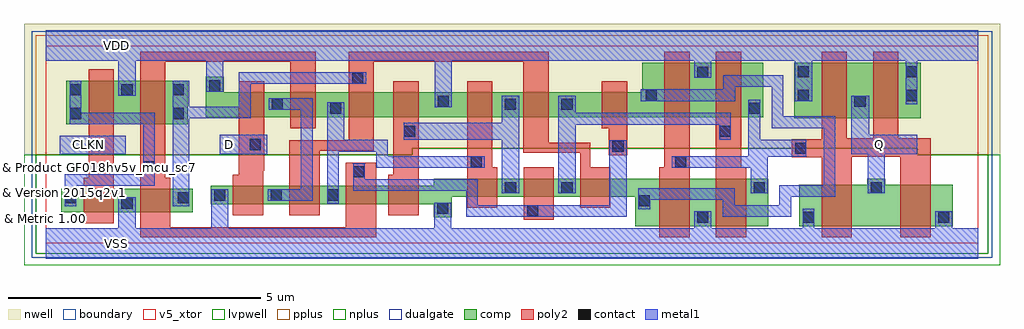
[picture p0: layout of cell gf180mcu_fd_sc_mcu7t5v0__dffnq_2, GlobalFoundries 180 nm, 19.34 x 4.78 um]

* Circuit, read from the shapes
.subckt gf180mcu_fd_sc_mcu7t5v0__dffnq_2 CLKN D Q VDD VSS
XM1 VSS CLKN n1 VSUBS nfet_05v0 w=0.465u l=0.6u
XM2 n2 n1 VSS VSUBS nfet_05v0 w=0.465u l=0.6u
XM3 n3 D VSS VSUBS nfet_05v0 w=0.36u l=0.6u
XM4 n4 n2 n3 VSUBS nfet_05v0 w=0.36u l=0.6u
XM5 n5 n1 n4 VSUBS nfet_05v0 w=0.36u l=0.6u
XM6 VSS n6 n5 VSUBS nfet_05v0 w=0.36u l=0.6u
XM7 n6 n4 VSS VSUBS nfet_05v0 w=0.36u l=0.6u
XM8 n7 n1 n6 VSUBS nfet_05v0 w=0.36u l=0.6u
XM9 n8 n2 n7 VSUBS nfet_05v0 w=0.36u l=0.6u
XM10 VSS n9 n8 VSUBS nfet_05v0 w=0.945u l=0.6u
XM11 n9 n7 VSS VSUBS nfet_05v0 w=0.945u l=0.6u
XM12 Q n9 VSS VSUBS nfet_05v0 w=0.82u l=0.6u m=2
XM13 VDD CLKN n1 n10 pfet_05v0 w=0.865u l=0.5u
XM14 n2 n1 VDD n10 pfet_05v0 w=0.865u l=0.5u
XM15 n3 D VDD n10 pfet_05v0 w=0.495u l=0.5u
XM16 n4 n1 n3 n10 pfet_05v0 w=0.495u l=0.5u
XM17 n11 n2 n4 n10 pfet_05v0 w=0.495u l=0.5u
XM18 VDD n6 n11 n10 pfet_05v0 w=0.495u l=0.5u
XM19 n6 n4 VDD n10 pfet_05v0 w=0.495u l=0.5u
XM20 n7 n2 n6 n10 pfet_05v0 w=0.495u l=0.5u
XM21 n8 n1 n7 n10 pfet_05v0 w=0.495u l=0.5u
XM22 VDD n9 n8 n10 pfet_05v0 w=1.075u l=0.5u
XM23 n9 n7 VDD n10 pfet_05v0 w=1.075u l=0.5u
XM24 Q n9 VDD n10 pfet_05v0 w=1.095u l=0.5u m=2
.ends

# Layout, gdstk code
import gdstk
lib = gdstk.Library(unit=1e-6, precision=1e-09)
def R(c, l, rs):  # rectangles x0, y0, x1, y1
    for r in rs: c.add(gdstk.rectangle(r[:2], r[2:], *l))
def A(c, l, x, y, w, h, nx, ny, dx, dy):  # array of equal rectangles
    R(c, l, [(x+i*dx, y+j*dy, x+i*dx+w, y+j*dy+h) for i in range(nx) for j in range(ny)])
def P(c, l, *ps):  # polygons
    for p in ps: c.add(gdstk.Polygon(p, *l))
boundary = (0, 0)
nwell = (21, 0)
comp = (22, 0)
poly2 = (30, 0)
pplus = (31, 0)
nplus = (32, 0)
contact = (33, 0)
metal1 = (34, 0)
dualgate = (55, 0)
v5_xtor = (112, 1)
lvpwell = (204, 0)

gf180mcu_fd_sc_mcu7t5v0_ = lib.new_cell('gf180mcu_fd_sc_mcu7t5v0__dffnq_2')
R(gf180mcu_fd_sc_mcu7t5v0_, boundary, [(0,0,18.48,3.92)])
P(gf180mcu_fd_sc_mcu7t5v0_, nwell, [(-0.43,1.76),(-0.43,4.35),(18.91,4.35),(18.91,1.76),(17.275,1.76),(17.275,1.885),(7.265,1.885),(7.265,1.76)])
R(gf180mcu_fd_sc_mcu7t5v0_, comp, [(0.31,0.62,2.91,1.085), (0.41,2.36,2.81,3.225), (14.835,2.485,17.335,3.58)])
P(gf180mcu_fd_sc_mcu7t5v0_, comp, [(3.17,2.5),(3.17,3.3),(3.53,3.3),(3.53,2.995),(11.82,2.995),(11.82,3.575),(14.22,3.575),(14.22,2.5)],
  [(11.68,0.34),(11.68,0.925),(8.05,0.925),(8.05,0.515),(7.69,0.515),(7.69,0.78),(3.27,0.78),(3.27,1.14),(7.69,1.14),(7.69,1.285),(14.32,1.285),(14.32,0.34)],
  [(14.935,0.34),(14.935,1.16),(16.275,1.16),(16.275,1.285),(16.635,1.285),(16.635,1.16),(17.975,1.16),(17.975,0.34)])
R(gf180mcu_fd_sc_mcu7t5v0_, poly2, [(9.47,0.465,10.07,1.505)])
P(gf180mcu_fd_sc_mcu7t5v0_, poly2, [(0.75,0.4),(0.75,1.305),(0.85,1.305),(0.85,3.45),(1.35,3.45),(1.35,0.4)],
  [(3.71,0.56),(3.71,1.36),(3.83,1.36),(3.83,3.215),(4.33,3.215),(4.33,1.44),(4.31,1.44),(4.31,0.56)],
  [(1.87,0.12),(1.87,3.8),(5.35,3.8),(5.35,2.28),(4.85,2.28),(4.85,3.6),(2.37,3.6),(2.37,1.305),(2.47,1.305),(2.47,0.32),(5.95,0.32),(5.95,1.6),(6.55,1.6),(6.55,0.12)],
  [(6.79,0.56),(6.79,1.36),(6.89,1.36),(6.89,3.215),(7.39,3.215),(7.39,0.56)],
  [(8.35,0.705),(8.35,3.215),(8.85,3.215),(8.85,1.505),(8.95,1.505),(8.95,0.705)],
  [(4.83,0.56),(4.83,2.04),(6.005,2.04),(6.005,3.8),(9.965,3.8),(9.965,1.995),(10.79,1.995),(10.79,1.505),(11.19,1.505),(11.19,0.705),(10.59,0.705),(10.59,1.795),(9.465,1.795),(9.465,3.6),(6.505,3.6),(6.505,1.84),(5.43,1.84),(5.43,0.56)],
  [(11.16,1.745),(11.16,2.28),(11.02,2.28),(11.02,3.215),(11.52,3.215),(11.52,1.745)],
  [(12.16,0.12),(12.16,1.505),(12.26,1.505),(12.26,3.8),(12.76,3.8),(12.76,0.12)],
  [(13.28,0.12),(13.28,3.8),(13.78,3.8),(13.78,1.505),(13.88,1.505),(13.88,0.12)],
  [(15.375,0.12),(15.375,1.705),(14.78,1.705),(14.78,2.065),(15.375,2.065),(15.375,3.8),(15.875,3.8),(15.875,2.08),(16.395,2.08),(16.395,3.8),(16.895,3.8),(16.895,2.08),(17.535,2.08),(17.535,0.12),(16.935,0.12),(16.935,1.72),(15.975,1.72),(15.975,0.12)])
P(gf180mcu_fd_sc_mcu7t5v0_, pplus, [(-0.2,1.76),(-0.2,4.12),(18.68,4.12),(18.68,1.76),(17.275,1.76),(17.275,1.885),(7.265,1.885),(7.265,1.76)])
P(gf180mcu_fd_sc_mcu7t5v0_, nplus, [(-0.2,-0.2),(-0.2,1.76),(7.265,1.76),(7.265,1.885),(17.275,1.885),(17.275,1.76),(18.68,1.76),(18.68,-0.2)])
A(gf180mcu_fd_sc_mcu7t5v0_, contact, 3.34, 0.85, 0.22, 0.22, 3, 1, 1.12, 0)
A(gf180mcu_fd_sc_mcu7t5v0_, contact, 0.48, 2.935, 0.22, 0.22, 3, 1, 1.02, 0)
R(gf180mcu_fd_sc_mcu7t5v0_, contact, [(12.91,0.41,13.13,0.63), (15.005,0.41,15.225,0.63), (17.685,0.41,17.905,0.63), (9.54,0.535,9.76,0.755), (7.76,0.585,7.98,0.805), (1.5,0.69,1.72,0.91), (11.75,0.735,11.97,0.955), (0.38,0.795,0.6,1.015), (2.62,0.795,2.84,1.015), (9.1,0.995,9.32,1.215), (10.22,0.995,10.44,1.215), (14.03,0.995,14.25,1.215), (16.345,0.995,16.565,1.215), (6.095,1.31,6.315,1.53), (1.94,1.405,2.16,1.625), (8.42,1.505,8.64,1.725), (12.47,1.505,12.69,1.725), (14.85,1.775,15.07,1.995), (11.23,1.815,11.45,2.035), (0.92,1.835,1.14,2.055), (4.04,1.85,4.26,2.07), (7.1,2.11,7.32,2.33), (13.35,2.11,13.57,2.33), (0.48,2.465,0.7,2.685), (2.52,2.465,2.74,2.685), (5.635,2.57,5.855,2.79), (13.93,2.57,14.15,2.79), (4.48,2.65,4.7,2.87), (9.095,2.65,9.315,2.87), (10.22,2.65,10.44,2.87), (7.765,2.705,7.985,2.925), (16.025,2.705,16.245,2.925), (11.89,2.82,12.11,3.04), (14.905,2.82,15.125,3.04), (17.045,2.82,17.265,3.04), (3.24,3.01,3.46,3.23), (6.075,3.165,6.295,3.385), (12.91,3.285,13.13,3.505), (14.905,3.29,15.125,3.51), (17.045,3.29,17.265,3.51)])
R(gf180mcu_fd_sc_mcu7t5v0_, metal1, [(0.28,1.77,1.59,2.13), (3.45,1.77,4.39,2.15)])
P(gf180mcu_fd_sc_mcu7t5v0_, metal1, [(0.375,0.735),(0.375,1.375),(1.935,1.375),(1.935,2.36),(0.475,2.36),(0.475,3.225),(0.705,3.225),(0.705,2.59),(2.165,2.59),(2.165,1.145),(0.605,1.145),(0.605,0.735)],
  [(4.4,0.845),(4.4,1.075),(5.055,1.075),(5.055,2.645),(4.42,2.645),(4.42,2.875),(5.29,2.875),(5.29,0.845)],
  [(2.515,0.735),(2.515,3.225),(2.845,3.225),(2.845,2.71),(3.83,2.71),(3.83,3.39),(6.355,3.39),(6.355,3.16),(4.06,3.16),(4.06,2.48),(2.845,2.48),(2.845,0.735)],
  [(5.575,0.79),(5.575,2.795),(5.915,2.795),(5.915,2.05),(6.78,2.05),(6.78,1.73),(8.7,1.73),(8.7,1.5),(6.55,1.5),(6.55,1.82),(5.805,1.82),(5.805,0.79)],
  [(9.04,0.99),(9.04,2.05),(7.095,2.05),(7.095,2.39),(9.04,2.39),(9.04,2.93),(9.38,2.93),(9.38,0.99)],
  [(8.33,0.53),(8.33,1.04),(6.09,1.04),(6.09,1.59),(6.32,1.59),(6.32,1.27),(8.56,1.27),(8.56,0.76),(11.17,0.76),(11.17,2.04),(11.51,2.04),(11.51,0.53)],
  [(10.16,0.99),(10.16,2.93),(10.5,2.93),(10.5,2.585),(13.575,2.585),(13.575,2.05),(13.345,2.05),(13.345,2.355),(10.5,2.355),(10.5,0.99)],
  [(13.97,0.99),(13.97,1.495),(12.41,1.495),(12.41,1.73),(13.925,1.73),(13.925,2.85),(14.155,2.85),(14.155,2.055),(15.075,2.055),(15.075,1.715),(14.31,1.715),(14.31,0.99)],
  [(13.42,0.53),(13.42,0.865),(11.975,0.865),(11.975,0.675),(11.745,0.675),(11.745,1.095),(13.65,1.095),(13.65,0.76),(14.54,0.76),(14.54,1.15),(15.415,1.15),(15.415,2.285),(14.385,2.285),(14.385,3.1),(13.66,3.1),(13.66,2.815),(11.79,2.815),(11.79,3.05),(13.43,3.05),(13.43,3.33),(14.615,3.33),(14.615,2.515),(15.645,2.515),(15.645,0.92),(14.77,0.92),(14.77,0.53)],
  [(16.285,0.99),(16.285,1.77),(15.965,1.77),(15.965,2.93),(16.315,2.93),(16.315,2.15),(17.27,2.15),(17.27,1.77),(16.625,1.77),(16.625,0.99)],
  [(0,-0.3),(0,0.3),(1.44,0.3),(1.44,0.915),(1.78,0.915),(1.78,0.3),(3.28,0.3),(3.28,1.075),(3.62,1.075),(3.62,0.3),(7.7,0.3),(7.7,0.81),(8.04,0.81),(8.04,0.3),(12.85,0.3),(12.85,0.635),(13.19,0.635),(13.19,0.3),(15,0.3),(15,0.69),(15.23,0.69),(15.23,0.3),(17.625,0.3),(17.625,0.635),(17.965,0.635),(17.965,0.3),(18.48,0.3),(18.48,-0.3)],
  [(7.705,2.7),(7.705,3.62),(3.52,3.62),(3.52,3.005),(3.18,3.005),(3.18,3.62),(1.78,3.62),(1.78,2.93),(1.44,2.93),(1.44,3.62),(0,3.62),(0,4.22),(18.48,4.22),(18.48,3.62),(17.27,3.62),(17.27,2.76),(17.04,2.76),(17.04,3.62),(15.185,3.62),(15.185,2.815),(14.845,2.815),(14.845,3.62),(13.19,3.62),(13.19,3.28),(12.85,3.28),(12.85,3.62),(8.045,3.62),(8.045,2.7)])
R(gf180mcu_fd_sc_mcu7t5v0_, dualgate, [(-0.28,-0.28,18.76,4.2)])
R(gf180mcu_fd_sc_mcu7t5v0_, v5_xtor, [(0,0,18.48,3.92)])
P(gf180mcu_fd_sc_mcu7t5v0_, lvpwell, [(-0.43,-0.43),(-0.43,1.76),(7.265,1.76),(7.265,1.885),(17.275,1.885),(17.275,1.76),(18.91,1.76),(18.91,-0.43)])
gf180mcu_fd_sc_mcu7t5v0_.add(gdstk.Label('D', (3.64,1.96), layer=34, texttype=10))
gf180mcu_fd_sc_mcu7t5v0_.add(gdstk.Label('Q', (16.52,1.96), layer=34, texttype=10))
gf180mcu_fd_sc_mcu7t5v0_.add(gdstk.Label('VDD', (1.4,3.92), layer=34, texttype=10))
gf180mcu_fd_sc_mcu7t5v0_.add(gdstk.Label('VSS', (1.4,0), layer=34, texttype=10))
gf180mcu_fd_sc_mcu7t5v0_.add(gdstk.Label('CLKN', (0.84,1.96), layer=34, texttype=10))
gf180mcu_fd_sc_mcu7t5v0_.add(gdstk.Label('& Vendor GLOBALFOUNDRIES', (0,2), layer=63, texttype=63))
gf180mcu_fd_sc_mcu7t5v0_.add(gdstk.Label('& Product GF018hv5v_mcu_sc7', (0,1.5), layer=63, texttype=63))
gf180mcu_fd_sc_mcu7t5v0_.add(gdstk.Label('& Version 2015q2v1', (0,1), layer=63, texttype=63))
gf180mcu_fd_sc_mcu7t5v0_.add(gdstk.Label('& Metric 1.00', (0,0.5), layer=63, texttype=63))

lib.write_gds('gf180mcu_fd_sc_mcu7t5v0__dffnq_2.gds')
